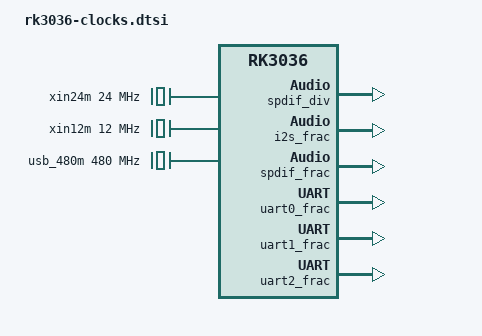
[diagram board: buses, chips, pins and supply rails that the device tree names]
/*
 * Copyright (C) 2014 ROCKCHIP, Inc.
 *
 * This program is free software; you can redistribute it and/or modify
 * it under the terms of the GNU General Public License as published by
 * the Free Software Foundation; either version 2 of the License, or
 * (at your option) any later version.
 *
 * This program is distributed in the hope that it will be useful,
 * but WITHOUT ANY WARRANTY; without even the implied warranty of
 * MERCHANTABILITY or FITNESS FOR A PARTICULAR PURPOSE.  See the
 * GNU General Public License for more details.
 */
#include <dt-bindings/clock/rockchip,rk3036.h>

/{

	clocks {
		compatible = "rockchip,rk-clocks";
		#address-cells = <1>;
		#size-cells = <1>;
		ranges = <0x0  0x20000000  0x1f0>;

		fixed_rate_cons {
			compatible = "rockchip,rk-fixed-rate-cons";

			xin24m: xin24m {
				compatible = "rockchip,rk-fixed-clock";
				clock-output-names = "xin24m";
				clock-frequency = <24000000>;
				#clock-cells = <0>;
			};

			xin12m: xin12m {
				compatible = "rockchip,rk-fixed-clock";
				clocks = <&xin24m>;
				clock-output-names = "xin12m";
				clock-frequency = <12000000>;
				#clock-cells = <0>;
			};

			rmii_clkin: rmii_clkin {
				compatible = "rockchip,rk-fixed-clock";
				clock-output-names = "rmii_clkin";
				clock-frequency = <0>;
				#clock-cells = <0>;
			};

			usb_480m: usb_480m {
				compatible = "rockchip,rk-fixed-clock";
				clock-output-names = "usb_480m";
				clock-frequency = <480000000>;
				#clock-cells = <0>;
			};

			i2s_clkin: i2s_clkin {
				compatible = "rockchip,rk-fixed-clock";
				clock-output-names = "i2s_clkin";
				clock-frequency = <0>;
				#clock-cells = <0>;
			};

			jtag_tck: jtag_tck {
				compatible = "rockchip,rk-fixed-clock";
				clock-output-names = "jtag_tck";
				clock-frequency = <0>;
				#clock-cells = <0>;
			};

			dummy: dummy {
				compatible = "rockchip,rk-fixed-clock";
				clock-output-names = "dummy";
				clock-frequency = <0>;
				#clock-cells = <0>;
			};

			dummy_cpll: dummy_cpll {
				compatible = "rockchip,rk-fixed-clock";
				clock-output-names = "dummy_cpll";
				clock-frequency = <0>;
				#clock-cells = <0>;
			};

		};

		fixed_factor_cons {
			compatible = "rockchip,rk-fixed-factor-cons";
/*
			otgphy0_12m: otgphy0_12m {
				compatible = "rockchip,rk-fixed-factor-clock";
				clocks = <&clk_gates1 5>;
				clock-output-names = "otgphy0_12m";
				clock-div = <1>;
				clock-mult = <20>;
				#clock-cells = <0>;
			};
*/
			hclk_vcodec: hclk_vcodec {
				compatible = "rockchip,rk-fixed-factor-clock";
				clocks = <&aclk_vcodec_pre>;
				clock-output-names = "hclk_vcodec";
				clock-div = <4>;
				clock-mult = <1>;
				#clock-cells = <0>;
			};

		};

		clock_regs {
			compatible = "rockchip,rk-clock-regs";
			#address-cells = <1>;
			#size-cells = <1>;
			reg = <0x0000 0x01f0>;
			ranges;

			/* PLL control regs */
			pll_cons {
				compatible = "rockchip,rk-pll-cons";
				#address-cells = <1>;
				#size-cells = <1>;
				ranges ;

				clk_apll: pll-clk@0000 {
					compatible = "rockchip,rk3188-pll-clk";
					reg = <0x0000 0x10>;
					mode-reg = <0x0040 0>;
					status-reg = <0x0004 10>;
					clocks = <&xin24m>;
					clock-output-names = "clk_apll";
					rockchip,pll-type = <CLK_PLL_3036_APLL>;
					#clock-cells = <0>;
				};

				clk_dpll: pll-clk@0010 {
					compatible = "rockchip,rk3188-pll-clk";
					reg = <0x0010 0x10>;
					mode-reg = <0x0040 4>;
					status-reg = <0x0014 10>;
					clocks = <&xin24m>;
					clock-output-names = "clk_dpll";
					rockchip,pll-type = <CLK_PLL_3036PLUS_AUTO>;
					#clock-cells = <0>;
				};

				clk_gpll: pll-clk@0030 {
					compatible = "rockchip,rk3188-pll-clk";
					reg = <0x0030 0x10>;
					mode-reg = <0x0040 12>;
					status-reg = <0x0034 10>;
					clocks = <&xin24m>;
					clock-output-names = "clk_gpll";
					rockchip,pll-type = <CLK_PLL_3036PLUS_AUTO>;
					#clock-cells = <0>;
					#clock-init-cells = <1>;
				};

			};

			/* Select control regs */
			clk_sel_cons {
				compatible = "rockchip,rk-sel-cons";
				#address-cells = <1>;
				#size-cells = <1>;
				ranges;

				clk_sel_con0: sel-con@0044 {
					compatible = "rockchip,rk3188-selcon";
					reg = <0x0044 0x4>;
					#address-cells = <1>;
					#size-cells = <1>;

					clk_core_div: clk_core_div {
						compatible = "rockchip,rk3188-div-con";
						rockchip,bits = <0 5>;
						clocks = <&clk_core>;
						clock-output-names = "clk_core";
						rockchip,div-type = <CLK_DIVIDER_PLUS_ONE>;
						#clock-cells = <0>;
						rockchip,clkops-idx = <CLKOPS_RATE_CORE>;
						rockchip,flags = <(CLK_GET_RATE_NOCACHE |
									CLK_SET_RATE_NO_REPARENT)>;
					};

					/* reg[6:5]: reserved */

					clk_core: clk_core_mux {
						compatible = "rockchip,rk3188-mux-con";
						rockchip,bits = <7 1>;
						clocks = <&clk_apll>, <&clk_gates0 6>;
						clock-output-names = "clk_core";
						#clock-cells = <0>;
						#clock-init-cells = <1>;
					};

					aclk_cpu_pre_div: aclk_cpu_pre_div {
						compatible = "rockchip,rk3188-div-con";
						rockchip,bits = <8 5>;
						clocks = <&aclk_cpu_pre>;
						clock-output-names = "aclk_cpu_pre";
						rockchip,div-type = <CLK_DIVIDER_PLUS_ONE>;
						#clock-cells = <0>;
						rockchip,clkops-idx =
							<CLKOPS_RATE_MUX_DIV>;
						rockchip,flags = <CLK_SET_RATE_NO_REPARENT>;
					};

					/* reg[13]: reserved */

					aclk_cpu_pre: aclk_cpu_pre_mux {
						compatible = "rockchip,rk3188-mux-con";
						rockchip,bits = <14 2>;
						clocks = <&clk_apll>, <&clk_dpll>,<&clk_gpll>;
						clock-output-names = "aclk_cpu_pre";
						#clock-cells = <0>;
						#clock-init-cells = <1>;
					};

				};

				clk_sel_con1: sel-con@0048 {
					compatible = "rockchip,rk3188-selcon";
					reg = <0x0048 0x4>;
					#address-cells = <1>;
					#size-cells = <1>;

					pclk_dbg_div:  pclk_dbg_div {
						compatible = "rockchip,rk3188-div-con";
						rockchip,bits = <0 4>;
						clocks = <&clk_core>;
						clock-output-names = "pclk_dbg";
						rockchip,div-type = <CLK_DIVIDER_PLUS_ONE>;
						#clock-cells = <0>;
						rockchip,clkops-idx = <CLKOPS_RATE_CORE_CHILD>;
					};

					aclk_core_pre: aclk_core_pre_div {
						compatible = "rockchip,rk3188-div-con";
						rockchip,bits = <4 3>;
						clocks = <&clk_core>;
						clock-output-names = "aclk_core_pre";
						rockchip,div-type = <CLK_DIVIDER_PLUS_ONE>;
						#clock-cells = <0>;
						rockchip,clkops-idx = <CLKOPS_RATE_CORE_CHILD>;
					};

					/* reg[7]: reserved */

					hclk_cpu_pre: hclk_cpu_pre_div {
						compatible = "rockchip,rk3188-div-con";
						rockchip,bits = <8 2>;
						clocks = <&aclk_cpu_pre>;
						clock-output-names = "hclk_cpu_pre";
						rockchip,div-type = <CLK_DIVIDER_PLUS_ONE>;
						#clock-cells = <0>;
						#clock-init-cells = <1>;
					};

					/* reg[11:10]: reserved */

					pclk_cpu_pre: pclk_cpu_pre_div {
						compatible = "rockchip,rk3188-div-con";
						rockchip,bits = <12 3>;
						clocks = <&aclk_cpu_pre>;
						clock-output-names = "pclk_cpu_pre";
						rockchip,div-type = <CLK_DIVIDER_PLUS_ONE>;
						#clock-cells = <0>;
						#clock-init-cells = <1>;
					};

					/* reg[15]: reserved */
				};

				clk_sel_con2: sel-con@004c {
					compatible = "rockchip,rk3188-selcon";
					reg = <0x004c 0x4>;
					#address-cells = <1>;
					#size-cells = <1>;

					/* reg[3:0]: reserved */

					clk_timer0: clk_timer0_mux {
						compatible = "rockchip,rk3188-mux-con";
						rockchip,bits = <4 1>;
						clocks = <&xin24m>, <&aclk_peri_pre>;
						clock-output-names = "clk_timer0";
						#clock-cells = <0>;
						#clock-init-cells = <1>;
					};

					clk_timer1: clk_timer1_mux {
						compatible = "rockchip,rk3188-mux-con";
						rockchip,bits = <5 1>;
						clocks = <&xin24m>, <&aclk_peri_pre>;
						clock-output-names = "clk_timer1";
						#clock-cells = <0>;
						#clock-init-cells = <1>;
					};

					clk_timer2: clk_timer2_mux {
						compatible = "rockchip,rk3188-mux-con";
						rockchip,bits = <6 1>;
						clocks = <&xin24m>, <&aclk_peri_pre>;
						clock-output-names = "clk_timer2";
						#clock-cells = <0>;
						#clock-init-cells = <1>;
					};

					clk_timer3: clk_timer3_mux {
						compatible = "rockchip,rk3188-mux-con";
						rockchip,bits = <7 1>;
						clocks = <&xin24m>, <&aclk_peri_pre>;
						clock-output-names = "clk_timer3";
						#clock-cells = <0>;
						#clock-init-cells = <1>;
					};

					/* reg[15:8]: reserved */
				};

				clk_sel_con3: sel-con@0050 {
					compatible = "rockchip,rk3188-selcon";
					reg = <0x0050 0x4>;
					#address-cells = <1>;
					#size-cells = <1>;

					clk_i2s_pll_div: clk_i2s_pll_div {
						compatible = "rockchip,rk3188-div-con";
						rockchip,bits = <0 7>;
						clocks = <&clk_i2s_pll>;
						clock-output-names = "clk_i2s_pll";
						rockchip,div-type = <CLK_DIVIDER_PLUS_ONE>;
						#clock-cells = <0>;
						rockchip,clkops-idx =
							<CLKOPS_RATE_MUX_DIV>;
						rockchip,flags = <CLK_SET_RATE_NO_REPARENT>;
					};

					/* reg[7]: reserved */

					clk_i2s: clk_i2s_mux {
						compatible = "rockchip,rk3188-mux-con";
						rockchip,bits = <8 2>;
						clocks = <&clk_i2s_pll_div>, <&i2s_frac>, <&i2s_clkin>, <&xin12m>;
						clock-output-names = "clk_i2s";
						#clock-cells = <0>;
						rockchip,clkops-idx =
							<CLKOPS_RATE_RK3288_I2S>;
						rockchip,flags = <CLK_SET_RATE_PARENT>;
					};

					/* reg[11:10]: reserved */

					clk_i2s_out: i2s_outclk_mux {
						compatible = "rockchip,rk3188-mux-con";
						rockchip,bits = <12 1>;
						clocks = <&xin12m>, <&clk_i2s>;
						clock-output-names = "i2s_clkout";
						#clock-cells = <0>;
					};

					/* reg[13]: reserved */

					clk_i2s_pll: i2s_pll_mux {
						compatible = "rockchip,rk3188-mux-con";
						rockchip,bits = <14 2>;
						clocks = <&clk_apll>,<&clk_dpll>, <&clk_gpll>;
						clock-output-names = "clk_i2s_pll";
						#clock-cells = <0>;
						#clock-init-cells = <1>;
					};

				};

				clk_sel_con5: sel-con@0058 {
					compatible = "rockchip,rk3188-selcon";
					reg = <0x0058 0x4>;
					#address-cells = <1>;
					#size-cells = <1>;

					spdif_div: spdif_div {
						compatible = "rockchip,rk3188-div-con";
						rockchip,bits = <0 7>;
						clocks = <&clk_spdif_pll>;
						clock-output-names = "clk_spdif_pll";
						rockchip,div-type = <CLK_DIVIDER_PLUS_ONE>;
						#clock-cells = <0>;
						rockchip,clkops-idx =
							<CLKOPS_RATE_MUX_DIV>;
						rockchip,flags = <CLK_SET_RATE_NO_REPARENT>;
					};

					/* reg[7]: reserved */

					clk_spdif: spdif_mux {
						compatible = "rockchip,rk3188-mux-con";
						rockchip,bits = <8 2>;
						clocks = <&spdif_div>, <&spdif_frac>, <&xin12m>;
						clock-output-names = "clk_spdif";
						#clock-cells = <0>;
						rockchip,clkops-idx =
							<CLKOPS_RATE_RK3288_I2S>;
						rockchip,flags = <CLK_SET_RATE_PARENT>;
					};

					clk_spdif_pll: spdif_pll_mux {
						compatible = "rockchip,rk3188-mux-con";
						rockchip,bits = <10 2>;
						clocks = <&clk_apll>,<&clk_dpll>, <&clk_gpll>;
						clock-output-names = "clk_spdif_pll";
						#clock-cells = <0>;
						#clock-init-cells = <1>;
					};

					/* reg[15:12]: reserved */
				};

				clk_sel_con7: sel-con@0060 {
					compatible = "rockchip,rk3188-selcon";
					reg = <0x0060 0x4>;
					#address-cells = <1>;
					#size-cells = <1>;

					i2s_frac: i2s_frac {
						compatible = "rockchip,rk3188-frac-con";
						clocks = <&clk_i2s_pll>;
						clock-output-names = "i2s_frac";
						/* numerator	denominator */
						rockchip,bits = <0 32>;
						rockchip,clkops-idx =
							<CLKOPS_RATE_FRAC>;
						#clock-cells = <0>;
					};
				};

				clk_sel_con9: sel-con@0068 {
					compatible = "rockchip,rk3188-selcon";
					reg = <0x0068 0x4>;
					#address-cells = <1>;
					#size-cells = <1>;

					spdif_frac: spdif_frac {
						compatible = "rockchip,rk3188-frac-con";
						clocks = <&spdif_div>;
						clock-output-names = "spdif_frac";
						/* numerator	denominator */
						rockchip,bits = <0 32>;
						rockchip,clkops-idx =
							<CLKOPS_RATE_FRAC>;
						#clock-cells = <0>;
					};
				};

				clk_sel_con10: sel-con@006c {
					compatible = "rockchip,rk3188-selcon";
					reg = <0x006c 0x4>;
					#address-cells = <1>;
					#size-cells = <1>;

					aclk_peri_pre_div: aclk_peri_pre_div {
						compatible = "rockchip,rk3188-div-con";
						rockchip,bits = <0 5>;
						clocks = <&aclk_peri_pre>;
						clock-output-names = "aclk_peri_pre";
						rockchip,div-type = <CLK_DIVIDER_PLUS_ONE>;
						#clock-cells = <0>;
						rockchip,clkops-idx =
							<CLKOPS_RATE_MUX_DIV>;
						rockchip,flags = <CLK_SET_RATE_NO_REPARENT>;
					};

					/* reg[7:5]: reserved */

					hclk_peri_pre: hclk_peri_pre_div {
						compatible = "rockchip,rk3188-div-con";
						rockchip,bits = <8 2>;
						clocks = <&aclk_peri_pre>;
						clock-output-names = "hclk_peri_pre";
						rockchip,div-type = <CLK_DIVIDER_USER_DEFINE>;
						rockchip,div-relations =
								<0x0 1
								 0x1 2
								 0x2 4>;
						#clock-cells = <0>;
						#clock-init-cells = <1>;
					};

					/* reg[11:10]: reserved */

					pclk_peri_pre: pclk_peri_div {
						compatible = "rockchip,rk3188-div-con";
						rockchip,bits = <12 2>;
						clocks = <&aclk_peri_pre>;
						clock-output-names = "pclk_peri_pre";
						rockchip,div-type = <CLK_DIVIDER_USER_DEFINE>;
						rockchip,div-relations =
								<0x0 1
								 0x1 2
								 0x2 4
								 0x3 8>;
						#clock-cells = <0>;
						#clock-init-cells = <1>;
					};

					aclk_peri_pre: aclk_peri_pre_mux {
						compatible = "rockchip,rk3188-mux-con";
						rockchip,bits = <14 2>;
						clocks = <&clk_apll>,<&clk_dpll>, <&clk_gpll>;
						clock-output-names = "aclk_peri_pre";
						#clock-cells = <0>;
						#clock-init-cells = <1>;
					};
				};

				clk_sel_con11: sel-con@0070 {
					compatible = "rockchip,rk3188-selcon";
					reg = <0x0070 0x4>;
					#address-cells = <1>;
					#size-cells = <1>;

					clk_sdmmc0_div: clk_sdmmc0_div {
						compatible = "rockchip,rk3188-div-con";
						rockchip,bits = <0 6>;
						clocks = <&clk_sdmmc0>;
						clock-output-names = "clk_sdmmc0";
						rockchip,div-type = <CLK_DIVIDER_PLUS_ONE>;
						#clock-cells = <0>;
						rockchip,clkops-idx =
							<CLKOPS_RATE_MUX_EVENDIV>;
					};

					/* reg[7]: reserved */

					clk_sdio_div: clk_sdio_div {
						compatible = "rockchip,rk3188-div-con";
						rockchip,bits = <8 7>;
						clocks = <&clk_sdio>;
						clock-output-names = "clk_sdio";
						rockchip,div-type = <CLK_DIVIDER_PLUS_ONE>;
						#clock-cells = <0>;
						rockchip,clkops-idx =
							<CLKOPS_RATE_MUX_EVENDIV>;
					};

					/* reg[15]: reserved */

				};

				clk_sel_con12: sel-con@0074 {
					compatible = "rockchip,rk3188-selcon";
					reg = <0x0074 0x4>;
					#address-cells = <1>;
					#size-cells = <1>;

					clk_emmc_div: clk_emmc_div {
						compatible = "rockchip,rk3188-div-con";
						rockchip,bits = <0 7>;
						clocks = <&clk_emmc>;
						clock-output-names = "clk_emmc";
						rockchip,div-type = <CLK_DIVIDER_PLUS_ONE>;
						#clock-cells = <0>;
						rockchip,clkops-idx =
							<CLKOPS_RATE_MUX_EVENDIV>;
					};

					/* reg[7]: reserved */

					clk_sdmmc0: clk_sdmmc0_mux {
						compatible = "rockchip,rk3188-mux-con";
						rockchip,bits = <8 2>;
						clocks = <&clk_apll>,<&clk_dpll>, <&clk_gpll>, <&xin24m>;
						clock-output-names = "clk_sdmmc0";
						#clock-cells = <0>;
					};

					clk_sdio: clk_sdio_mux {
						compatible = "rockchip,rk3188-mux-con";
						rockchip,bits = <10 2>;
						clocks = <&clk_apll>,<&clk_dpll>, <&clk_gpll>, <&xin24m>;
						clock-output-names = "clk_sdio";
						#clock-cells = <0>;
					};

					clk_emmc: clk_emmc_mux {
						compatible = "rockchip,rk3188-mux-con";
						rockchip,bits = <12 2>;
						clocks = <&clk_apll>,<&clk_dpll>, <&clk_gpll>, <&xin24m>;
						clock-output-names = "clk_emmc";
						#clock-cells = <0>;
					};

					/* reg[15:14]: reserved */
				};

				clk_sel_con13: sel-con@0078 {
					compatible = "rockchip,rk3188-selcon";
					reg = <0x0078 0x4>;
					#address-cells = <1>;
					#size-cells = <1>;

					clk_uart0_div: clk_uart0_div {
						compatible = "rockchip,rk3188-div-con";
						rockchip,bits = <0 7>;
						clocks = <&clk_uart_pll>;
						clock-output-names = "clk_uart0_div";
						rockchip,div-type = <CLK_DIVIDER_PLUS_ONE>;
						#clock-cells = <0>;
					};

					/* reg[7]: reserved */

					clk_uart0: clk_uart0_mux {
						compatible = "rockchip,rk3188-mux-con";
						rockchip,bits = <8 2>;
						clocks = <&clk_uart0_div>, <&uart0_frac>, <&xin24m>;
						clock-output-names = "clk_uart0";
						#clock-cells = <0>;
						rockchip,clkops-idx =
							<CLKOPS_RATE_RK3288_I2S>;
						rockchip,flags = <CLK_SET_RATE_PARENT>;
					};

					clk_uart_pll: clk_uart_pll_mux {
						compatible = "rockchip,rk3188-mux-con";
						rockchip,bits = <10 2>;
						clocks = <&clk_apll>,<&clk_dpll>, <&clk_gpll>, <&usb_480m>;
						clock-output-names = "clk_uart_pll";
						#clock-cells = <0>;
						#clock-init-cells = <1>;
					};

					/* reg[15:12]: reserved */

				};

				clk_sel_con14: sel-con@007c {
					compatible = "rockchip,rk3188-selcon";
					reg = <0x007c 0x4>;
					#address-cells = <1>;
					#size-cells = <1>;

					clk_uart1_div: clk_uart1_div {
						compatible = "rockchip,rk3188-div-con";
						rockchip,bits = <0 7>;
						clocks = <&clk_uart_pll>;
						clock-output-names = "clk_uart1_div";
						rockchip,div-type = <CLK_DIVIDER_PLUS_ONE>;
						#clock-cells = <0>;
					};

					/* reg[7]: reserved */

					clk_uart1: clk_uart1_mux {
						compatible = "rockchip,rk3188-mux-con";
						rockchip,bits = <8 2>;
						clocks = <&clk_uart1_div>, <&uart1_frac>, <&xin24m>;
						clock-output-names = "clk_uart1";
						#clock-cells = <0>;
						rockchip,clkops-idx =
							<CLKOPS_RATE_RK3288_I2S>;
						rockchip,flags = <CLK_SET_RATE_PARENT>;
					};

					/* reg[15:10]: reserved */
				};

				clk_sel_con15: sel-con@0080 {
					compatible = "rockchip,rk3188-selcon";
					reg = <0x0080 0x4>;
					#address-cells = <1>;
					#size-cells = <1>;

					clk_uart2_div: clk_uart2_div {
						compatible = "rockchip,rk3188-div-con";
						rockchip,bits = <0 7>;
						clocks = <&clk_uart_pll>;
						clock-output-names = "clk_uart2_div";
						rockchip,div-type = <CLK_DIVIDER_PLUS_ONE>;
						#clock-cells = <0>;
					};

					/* reg[7]: reserved */

					clk_uart2: clk_uart2_mux {
						compatible = "rockchip,rk3188-mux-con";
						rockchip,bits = <8 2>;
						clocks = <&clk_uart2_div>, <&uart2_frac>, <&xin24m>;
						clock-output-names = "clk_uart2";
						#clock-cells = <0>;
						rockchip,clkops-idx =
							<CLKOPS_RATE_RK3288_I2S>;
						rockchip,flags = <CLK_SET_RATE_PARENT>;
					};

					/* reg[15:10]: reserved */
				};

				clk_sel_con16: sel-con@0084 {
					compatible = "rockchip,rk3188-selcon";
					reg = <0x0084 0x4>;
					#address-cells = <1>;
					#size-cells = <1>;

					clk_sfc: clk_sfc_mux {
						compatible = "rockchip,rk3188-mux-con";
						rockchip,bits = <0 2>;
						clocks = <&clk_apll>, <&clk_dpll>, <&clk_gpll>, <&xin24m>;
						clock-output-names = "clk_sfc";
						#clock-cells = <0>;
					};

					clk_sfc_div: clk_sfc_div {
						compatible = "rockchip,rk3188-div-con";
						rockchip,bits = <2 5>;
						clocks = <&clk_sfc>;
						clock-output-names = "clk_sfc";
						rockchip,div-type = <CLK_DIVIDER_PLUS_ONE>;
						#clock-cells = <0>;
						rockchip,clkops-idx =
							<CLKOPS_RATE_MUX_DIV>;
					};

					/* reg[7]: reserved */

					clk_nandc: clk_nandc_mux {
						compatible = "rockchip,rk3188-mux-con";
						rockchip,bits = <8 2>;
						clocks = <&clk_apll>, <&clk_dpll>, <&clk_gpll>;
						clock-output-names = "clk_nandc";
						#clock-cells = <0>;
					};

					clk_nandc_div: clk_nandc_div {
						compatible = "rockchip,rk3188-div-con";
						rockchip,bits = <10 5>;
						clocks = <&clk_nandc>;
						clock-output-names = "clk_nandc";
						rockchip,div-type = <CLK_DIVIDER_PLUS_ONE>;
						#clock-cells = <0>;
						rockchip,clkops-idx =
							<CLKOPS_RATE_MUX_DIV>;
					};

					/* reg[31:15]: reserved */
				};

				clk_sel_con17: sel-con@0088 {
					compatible = "rockchip,rk3188-selcon";
					reg = <0x0088 0x4>;
					#address-cells = <1>;
					#size-cells = <1>;

					uart0_frac: uart0_frac {
						compatible = "rockchip,rk3188-frac-con";
						clocks = <&clk_uart0_div>;
						clock-output-names = "uart0_frac";
						/* numerator	denominator */
						rockchip,bits = <0 32>;
						rockchip,clkops-idx =
							<CLKOPS_RATE_FRAC>;
						#clock-cells = <0>;
					};
				};

				clk_sel_con18: sel-con@008c {
					compatible = "rockchip,rk3188-selcon";
					reg = <0x008c 0x4>;
					#address-cells = <1>;
					#size-cells = <1>;

					uart1_frac: uart1_frac {
						compatible = "rockchip,rk3188-frac-con";
						clocks = <&clk_uart1_div>;
						clock-output-names = "uart1_frac";
						/* numerator	denominator */
						rockchip,bits = <0 32>;
						rockchip,clkops-idx =
							<CLKOPS_RATE_FRAC>;
						#clock-cells = <0>;
					};
				};

				clk_sel_con19: sel-con@0090 {
					compatible = "rockchip,rk3188-selcon";
					reg = <0x0090 0x4>;
					#address-cells = <1>;
					#size-cells = <1>;

					uart2_frac: uart2_frac {
						compatible = "rockchip,rk3188-frac-con";
						clocks = <&clk_uart2_div>;
						clock-output-names = "uart2_frac";
						/* numerator	denominator */
						rockchip,bits = <0 32>;
						rockchip,clkops-idx =
							<CLKOPS_RATE_FRAC>;
						#clock-cells = <0>;
					};

				};

				clk_sel_con20: sel-con@0094 {
					compatible = "rockchip,rk3188-selcon";
					reg = <0x0094 0x4>;
					#address-cells = <1>;
					#size-cells = <1>;

					clk_hevc_core: clk_hevc_core_mux {
						compatible = "rockchip,rk3188-mux-con";
						rockchip,bits = <0 2>;
						clocks = <&clk_apll>, <&clk_dpll>, <&clk_gpll>;
						clock-output-names = "clk_hevc_core";
						#clock-cells = <0>;
						#clock-init-cells = <1>;
					};

					clk_hevc_core_div: clk_hevc_core_div {
						compatible = "rockchip,rk3188-div-con";
						rockchip,bits = <2 5>;
						clocks = <&clk_hevc_core>;
						clock-output-names = "clk_hevc_core";
						rockchip,div-type = <CLK_DIVIDER_PLUS_ONE>;
						#clock-cells = <0>;
						rockchip,clkops-idx =
							<CLKOPS_RATE_MUX_DIV>;
						rockchip,flags = <CLK_SET_RATE_NO_REPARENT>;
					};

					/* reg[31:7]: reserved */

				};

				clk_sel_con21: sel-con@0098 {
					compatible = "rockchip,rk3188-selcon";
					reg = <0x0098 0x4>;
					#address-cells = <1>;
					#size-cells = <1>;

					clk_mac_pll: clk_mac_pll_mux {
						compatible = "rockchip,rk3188-mux-con";
						rockchip,bits = <0 2>;
						clocks = <&clk_apll>, <&clk_dpll>, <&clk_gpll>;
						clock-output-names = "clk_mac_pll";
						#clock-cells = <0>;
						#clock-init-cells = <1>;
					};

					/* reg[2]: reserved */

					clk_mac_ref: clk_mac_ref_mux {
						compatible = "rockchip,rk3188-mux-con";
						rockchip,bits = <3 1>;
						clocks = <&clk_mac_pll_div>, <&rmii_clkin>;
						clock-output-names = "clk_mac_ref";
						#clock-cells = <0>;
						rockchip,clkops-idx =
							<CLKOPS_RATE_MAC_REF>;
						rockchip,flags = <CLK_SET_RATE_PARENT>;
						#clock-init-cells = <1>;
					};

					clk_mac_pll_div: clk_mac_pll_div {
						compatible = "rockchip,rk3188-div-con";
						rockchip,bits = <4 5>;
						clocks = <&clk_mac_pll>;
						clock-output-names = "clk_mac_pll";
						rockchip,div-type = <CLK_DIVIDER_PLUS_ONE>;
						#clock-cells = <0>;
						rockchip,clkops-idx =
							<CLKOPS_RATE_MUX_DIV>;
					};

					clk_mac_ref_div: clk_mac_ref_div {
						compatible = "rockchip,rk3188-div-con";
						rockchip,bits = <9 5>;
						clocks = <&clk_mac_ref>;
						clock-output-names = "clk_mac";
						rockchip,div-type = <CLK_DIVIDER_PLUS_ONE>;
						#clock-cells = <0>;
						#clock-init-cells = <1>;
					};

					/* reg[15:14]: reserved */
				};

				clk_sel_con25: sel-con@00a8 {
					compatible = "rockchip,rk3188-selcon";
					reg = <0x00a8 0x4>;
					#address-cells = <1>;
					#size-cells = <1>;

					clk_spi0_div: clk_spi0_div {
						compatible = "rockchip,rk3188-div-con";
						rockchip,bits = <0 7>;
						clocks = <&clk_spi0>;
						clock-output-names = "clk_spi0";
						rockchip,div-type = <CLK_DIVIDER_PLUS_ONE>;
						#clock-cells = <0>;
						rockchip,clkops-idx =
							<CLKOPS_RATE_MUX_DIV>;
					};

					/* reg[7]: reserved */

					clk_spi0: clk_spi0_mux {
						compatible = "rockchip,rk3188-mux-con";
						rockchip,bits = <8 2>;
						clocks = <&clk_apll>, <&clk_dpll>,<&clk_gpll>;
						clock-output-names = "clk_spi0";
						#clock-cells = <0>;
					};

					/* reg[15:10]: reserved */

				};

				clk_sel_con26: sel-con@00ac {
					compatible = "rockchip,rk3188-selcon";
					reg = <0x00ac 0x4>;
					#address-cells = <1>;
					#size-cells = <1>;

					ddr_div: ddr_div {
						compatible = "rockchip,rk3188-div-con";
						rockchip,bits = <0 2>;
						clocks = <&clk_ddr>;
						clock-output-names = "clk_ddr";
						rockchip,div-type = <CLK_DIVIDER_USER_DEFINE>;
						rockchip,div-relations =
								<0x0 1
								 0x1 2
								 0x3 4>;
						#clock-cells = <0>;
						rockchip,flags = <(CLK_GET_RATE_NOCACHE |
									CLK_SET_RATE_NO_REPARENT)>;
						rockchip,clkops-idx = <CLKOPS_RATE_DDR>;
					};

					/* reg[7:1]: reserved */

					clk_ddr: ddr_clk_pll_mux {
						compatible = "rockchip,rk3188-mux-con";
						rockchip,bits = <8 1>;
						clocks = <&clk_dpll>, <&dummy>;
						clock-output-names = "clk_ddr";
						#clock-cells = <0>;
					};

					/* reg[15:9]: reserved */
				};

				clk_sel_con28: sel-con@00b4 {
					compatible = "rockchip,rk3188-selcon";
					reg = <0x00b4 0x4>;
					#address-cells = <1>;
					#size-cells = <1>;

					dclk_lcdc1: dclk_lcdc1_mux {
						compatible = "rockchip,rk3188-mux-con";
						rockchip,bits = <0 2>;
						clocks = <&clk_apll>, <&clk_dpll>, <&clk_gpll>;
						clock-output-names = "dclk_lcdc1";
						#clock-cells = <0>;
						#clock-init-cells = <1>;
					};

					/* reg[7:2]: reserved */

					dclk_lcdc1_div: dclk_lcdc1_div {
						compatible = "rockchip,rk3188-div-con";
						rockchip,bits = <8 8>;
						clocks = <&dclk_lcdc1>;
						clock-output-names = "dclk_lcdc1";
						rockchip,div-type = <CLK_DIVIDER_PLUS_ONE>;
						#clock-cells = <0>;
						rockchip,clkops-idx =
							<CLKOPS_RATE_MUX_DIV>;
						rockchip,flags = <CLK_SET_RATE_NO_REPARENT>;
					};
				};

				clk_sel_con30: sel-con@00bc {
					compatible = "rockchip,rk3188-selcon";
					reg = <0x00bc 0x4>;
					#address-cells = <1>;
					#size-cells = <1>;

					clk_testout_div: clk_testout_div {
						compatible = "rockchip,rk3188-div-con";
						rockchip,bits = <0 5>;
						clocks = <&dummy>;
						clock-output-names = "clk_testout";
						rockchip,div-type = <CLK_DIVIDER_PLUS_ONE>;
						#clock-cells = <0>;
						#clock-init-cells = <1>;
					};

					/* reg[7:5]: reserved */

					hclk_vio_pre_div: hclk_vio_pre_div {
						compatible = "rockchip,rk3188-div-con";
						rockchip,bits = <8 5>;
						clocks = <&hclk_vio_pre>;
						clock-output-names = "hclk_vio_pre";
						rockchip,div-type = <CLK_DIVIDER_PLUS_ONE>;
						#clock-cells = <0>;
						rockchip,clkops-idx =
							<CLKOPS_RATE_MUX_DIV>;
						rockchip,flags = <CLK_SET_RATE_NO_REPARENT>;
					};

					/* reg[13]: reserved */

					hclk_vio_pre: hclk_vio_pre_mux {
						compatible = "rockchip,rk3188-mux-con";
						rockchip,bits = <14 2>;
						clocks = <&clk_apll>, <&clk_dpll>, <&clk_gpll>;
						clock-output-names = "hclk_vio_pre";
						#clock-cells = <0>;
						#clock-init-cells = <1>;
					};

				};

				clk_sel_con31: sel-con@00c0 {
					compatible = "rockchip,rk3188-selcon";
					reg = <0x00c0 0x4>;
					#address-cells = <1>;
					#size-cells = <1>;

					clk_hdmi: clk_hdmi_mux {
						compatible = "rockchip,rk3188-mux-con";
						rockchip,bits = <0 1>;
						clocks = <&dclk_lcdc1_div>, <&dummy>;
						clock-output-names = "clk_hdmi";
						#clock-cells = <0>;
					};

					/* reg[7:1]: reserved */

					aclk_vio_pre_div: aclk_vio_pre_div {
						compatible = "rockchip,rk3188-div-con";
						rockchip,bits = <8 5>;
						clocks = <&aclk_vio_pre>;
						clock-output-names = "aclk_vio_pre";
						rockchip,div-type = <CLK_DIVIDER_PLUS_ONE>;
						#clock-cells = <0>;
						rockchip,clkops-idx =
							<CLKOPS_RATE_MUX_DIV>;
						rockchip,flags = <CLK_SET_RATE_NO_REPARENT>;
					};

					/* reg[13]: reserved */

					aclk_vio_pre: aclk_vio_pre_mux {
						compatible = "rockchip,rk3188-mux-con";
						rockchip,bits = <14 2>;
						clocks = <&clk_apll>, <&clk_dpll>, <&clk_gpll>;
						clock-output-names = "aclk_vio_pre";
						#clock-cells = <0>;
						#clock-init-cells = <1>;
					};

				};

				clk_sel_con32: sel-con@00c4 {
					compatible = "rockchip,rk3188-selcon";
					reg = <0x00c4 0x4>;
					#address-cells = <1>;
					#size-cells = <1>;

					/* reg[7:0]: reserved */

					aclk_vcodec_pre_div: aclk_vcodec_pre_div {
						compatible = "rockchip,rk3188-div-con";
						rockchip,bits = <8 5>;
						clocks = <&aclk_vcodec_pre>;
						clock-output-names = "aclk_vcodec_pre";
						rockchip,div-type = <CLK_DIVIDER_PLUS_ONE>;
						#clock-cells = <0>;
						rockchip,clkops-idx =
							<CLKOPS_RATE_MUX_DIV>;
						rockchip,flags = <CLK_SET_RATE_NO_REPARENT>;
					};

					/* reg[13]: reserved */

					aclk_vcodec_pre: aclk_vcodec_pre_mux {
						compatible = "rockchip,rk3188-mux-con";
						rockchip,bits = <14 2>;
						clocks = <&clk_apll>, <&clk_dpll>, <&clk_gpll>;
						clock-output-names = "aclk_vcodec_pre";
						#clock-cells = <0>;
						#clock-init-cells = <1>;
					};
				};

				clk_sel_con34: sel-con@00cc {
					compatible = "rockchip,rk3188-selcon";
					reg = <0x00cc 0x4>;
					#address-cells = <1>;
					#size-cells = <1>;

					clk_gpu_pre_div: clk_gpu_pre_div {
						compatible = "rockchip,rk3188-div-con";
						rockchip,bits = <0 5>;
						clocks = <&clk_gpu_pre>;
						clock-output-names = "clk_gpu_pre";
						rockchip,div-type = <CLK_DIVIDER_PLUS_ONE>;
						#clock-cells = <0>;
						rockchip,clkops-idx =
							<CLKOPS_RATE_MUX_DIV>;
						rockchip,flags = <CLK_SET_RATE_PARENT_IN_ORDER>;
					};

					/* reg[7:5]: reserved */

					clk_gpu_pre: clk_gpu_pre_mux {
						compatible = "rockchip,rk3188-mux-con";
						rockchip,bits = <8 2>;
						clocks = <&dummy>, <&dummy>, <&clk_gpll>;
						clock-output-names = "clk_gpu_pre";
						#clock-cells = <0>;
						#clock-init-cells = <1>;
					};

					/* reg[15:10]: reserved */

				};

			};


			/* Gate control regs */
			clk_gate_cons {
				compatible = "rockchip,rk-gate-cons";
				#address-cells = <1>;
				#size-cells = <1>;
				ranges ;

				clk_gates0: gate-clk@00d0{
					compatible = "rockchip,rk3188-gate-clk";
					reg = <0x00d0 0x4>;
					clocks =
						<&clk_core>,		<&clk_gpll>,
						<&clk_dpll>,	<&aclk_cpu_pre>,

						<&aclk_cpu_pre>,	<&aclk_cpu_pre>,
						<&clk_gpll>,		<&clk_core>,

						<&clk_gpll>,	<&clk_i2s_pll>,
						<&i2s_frac>,	<&hclk_vio_pre>,

						<&dummy>,		<&clk_i2s_out>,
						<&clk_i2s>,		<&dummy>;

					clock-output-names =
						"pclk_dbg",			"reserved",	 /* do not use bit1 = "cpu_gpll" */
						"reserved",		"aclk_cpu_pre",

						"hclk_cpu_pre",		"pclk_cpu_pre",
						"reserved",		"aclk_core_pre",

						"reserved",		"clk_i2s_pll",
						"i2s_frac",		"hclk_vio_pre",

						"clk_cryto",		"clk_i2s_out",
						"clk_i2s",		"clk_testout";
					rockchip,suspend-clkgating-setting=<0x0 0x0>;

					#clock-cells = <1>;
				};

				clk_gates1: gate-clk@00d4{
					compatible = "rockchip,rk3188-gate-clk";
					reg = <0x00d4 0x4>;
					clocks =
						<&clk_timer0>,		<&clk_timer1>,
						<&dummy>,		<&jtag_tck>,

						<&aclk_vio_pre>,		<&xin12m>,
						<&dummy>,		<&dummy>,

						<&clk_uart0_div>,		<&uart0_frac>,
						<&clk_uart1_div>,		<&uart1_frac>,

						<&clk_uart2_div>,		<&uart2_frac>,
						<&dummy>,		<&dummy>;

					clock-output-names =
						"clk_timer0",		"clk_timer1",
						"reserved",		"clk_jatg",

						"aclk_vio_pre",		"clk_otgphy0",
						"clk_otgphy1",			"reserved",

						"clk_uart0_div",	"uart0_frac",
						"clk_uart1_div",	"uart1_frac",

						"clk_uart2_div",	"uart2_frac",
						"reserved",	"reserved";

					 rockchip,suspend-clkgating-setting=<0x0 0x0>;
					#clock-cells = <1>;
				};

				clk_gates2: gate-clk@00d8 {
					compatible = "rockchip,rk3188-gate-clk";
					reg = <0x00d8 0x4>;
					clocks =
						<&aclk_peri_pre>,		<&aclk_peri_pre>,
						<&aclk_peri_pre>,		<&aclk_peri_pre>,

						<&clk_timer2>,		<&clk_timer3>,
						<&clk_mac_ref>,		<&dummy>,

						<&dummy>,		<&clk_spi0>,
						<&clk_spdif_pll>,		<&clk_sdmmc0>,

						<&spdif_frac>,		<&clk_sdio>,
						<&clk_emmc>,		<&dummy>;

					clock-output-names =
						"aclk_peri",		"aclk_peri_pre",
						"hclk_peri_pre",		"pclk_peri_pre",

						"clk_timer2",		"clk_timer3",
						"clk_mac",		"reserved",

						"reserved",		"clk_spi0",
						"clk_spdif_pll",		"clk_sdmmc0",

						"spdif_frac",		"clk_sdio",
						"clk_emmc",		"reserved";
					    rockchip,suspend-clkgating-setting=<0x0 0x0>;

					#clock-cells = <1>;
				};

				clk_gates3: gate-clk@00dc {
					compatible = "rockchip,rk3188-gate-clk";
					reg = <0x00dc 0x4>;
					clocks =
						<&dummy>,		<&dummy>,
						<&dclk_lcdc1>,		<&dummy>,

						<&dummy>,			<&dummy>,
						<&dummy>,		<&dummy>,

						<&pclk_cpu_pre>,		<&dummy>,
						<&dummy>,		<&aclk_vcodec_pre>,

						<&aclk_vcodec_pre>,		<&clk_gpu_pre>,
						<&hclk_peri_pre>,		<&dummy>;

					clock-output-names =
						"reserved",		"reserved",
						"dclk_lcdc1",		"reserved",

						"reserved",		"reserved",
						"reserved",		"reserved",

						"g_pclk_hdmi",		"reserved",
						"reserved",		"aclk_vcodec_pre",

						"hclk_vcodec",		"clk_gpu_pre",
						"g_hclk_sfc",		"reserved";
                                       rockchip,suspend-clkgating-setting=<0x0000 0x0000>;

					#clock-cells = <1>;
				};

				clk_gates4: gate-clk@00e0{
					compatible = "rockchip,rk3188-gate-clk";
					reg = <0x00e0 0x4>;
					clocks =
						<&hclk_peri_pre>,		<&pclk_peri_pre>,
						<&aclk_peri_pre>,		<&aclk_peri_pre>,

						<&dummy>,		<&dummy>,
						<&dummy>,		<&dummy>,

						<&dummy>,		<&dummy>,
						<&aclk_cpu_pre>,		<&dummy>,

						<&aclk_cpu_pre>,		<&dummy>,
						<&dummy>,		<&dummy>;

					clock-output-names =
						"g_hp_axi_matrix",		"g_pp_axi_matrix",
						"g_aclk_cpu_peri",		"g_ap_axi_matrix",

						"reserved",		"reserved",
						"reserved",		"reserved",

						"reserved",		"reserved",
						"g_aclk_strc_sys",		"reserved",

						/* Not use these ddr gates */
						"g_aclk_intmem",		"reserved",
						"reserved",		"reserved";

					rockchip,suspend-clkgating-setting = <0x0000 0x0000>;
					#clock-cells = <1>;
				};

				clk_gates5: gate-clk@00e4 {
					compatible = "rockchip,rk3188-gate-clk";
					reg = <0x00e4 0x4>;
					clocks =
						<&dummy>,		<&aclk_peri_pre>,
						<&pclk_peri_pre>,		<&dummy>,

						<&pclk_cpu_pre>,		<&dummy>,
						<&hclk_cpu_pre>,		<&pclk_cpu_pre>,

						<&dummy>,		<&hclk_peri_pre>,
						<&hclk_peri_pre>,		<&hclk_peri_pre>,

						<&dummy>,		<&hclk_peri_pre>,
						<&pclk_cpu_pre>,		<&dummy>;

					clock-output-names =
						"reserved",		"g_aclk_dmac2",
						"g_pclk_efuse",	"reserved",

						"g_pclk_grf",		"reserved",
						"g_hclk_rom",		"g_pclk_ddrupctl",

						"reserved",		"g_hclk_nandc",
						"g_hclk_sdmmc0",		"g_hclk_sdio",

						"reserved",		"g_hclk_otg0",
						"g_pclk_acodec",		"reserved";

					rockchip,suspend-clkgating-setting = <0x0000 0x0000>;

					#clock-cells = <1>;
				};

				clk_gates6: gate-clk@00e8 {
					compatible = "rockchip,rk3188-gate-clk";
					reg = <0x00e8 0x4>;
					clocks =
						<&dummy>,		<&dummy>,
						<&dummy>,		<&dummy>,

						<&dummy>,		<&dummy>,
						<&dummy>,		<&dummy>,

						<&dummy>,		<&dummy>,
						<&dummy>,			<&dummy>,

						<&hclk_vio_pre>,		<&aclk_vio_pre>,
						<&dummy>,		<&dummy>;

					clock-output-names =
						"reserved",		"reserved",
						"reserved",		"reserved",

						"reserved",		"reserved",
						"reserved",		"reserved",

						"reserved",		"reserved",
						"reserved",		"reserved",

						"g_hclk_vio_bus",		"g_aclk_vio",
						"reserved",		"reserved";

					rockchip,suspend-clkgating-setting = <0x0000 0x0000>;

					#clock-cells = <1>;
				};

				clk_gates7: gate-clk@00ec {
					compatible = "rockchip,rk3188-gate-clk";
					reg = <0x00ec 0x4>;
					clocks =
						<&hclk_peri_pre>,		<&dummy>,
						<&hclk_peri_pre>,		<&hclk_peri_pre>,

						<&dummy>,		<&dummy>,
						<&dummy>,		<&pclk_peri_pre>,

						<&dummy>,		<&dummy>,
						<&pclk_peri_pre>,		<&dummy>,

						<&pclk_peri_pre>,		<&dummy>,
						<&dummy>,		<&pclk_peri_pre>;

					clock-output-names =
						"g_hclk_emmc",		"reserved",
						"g_hclk_i2s",		"g_hclk_otg1",

						"reserved",		"reserved",
						"reserved",		"g_pclk_timer0",

						"reserved",		"reserved",
						"g_pclk_pwm",		"reserved",

						"g_pclk_spi",		"reserved",
						"reserved",		"g_pclk_wdt";

					rockchip,suspend-clkgating-setting = <0x0000 0x0000>;

					#clock-cells = <1>;
				};

				clk_gates8: gate-clk@00f0 {
					compatible = "rockchip,rk3188-gate-clk";
					reg = <0x00f0 0x4>;
					clocks =
						<&pclk_peri_pre>,		<&pclk_peri_pre>,
						<&pclk_peri_pre>,		<&dummy>,

						<&pclk_peri_pre>,		<&pclk_peri_pre>,
						<&pclk_peri_pre>,		<&dummy>,

						<&dummy>,		<&pclk_peri_pre>,
						<&pclk_peri_pre>,		<&pclk_peri_pre>,

						<&dummy>,		<&dummy>,
						<&dummy>,		<&dummy>;

					clock-output-names =
						"g_pclk_uart0",		"g_pclk_uart1",
						"g_pclk_uart2",		"reserved",

						"g_pclk_i2c0",		"g_pclk_i2c1",
						"g_pclk_i2c2",		"reserved",

						"reserved",		"g_pclk_gpio0",
						"g_pclk_gpio1",		"g_pclk_gpio2",

						"reserved",		"reserved",
						"reserved",		"reserved";

                                        rockchip,suspend-clkgating-setting=<0x0000 0x0000>;
					#clock-cells = <1>;
				};

				clk_gates9: gate-clk@00f4 {
					compatible = "rockchip,rk3188-gate-clk";
					reg = <0x00f4 0x4>;
					clocks =
						<&dummy>,		<&dummy>,
						<&dummy>,		<&dummy>,

						<&dummy>,		<&hclk_vio_pre>,
						<&aclk_vio_pre>,		<&dummy>,

						<&dummy>,		<&dummy>,
						<&dummy>,		<&dummy>,

						<&dummy>,		<&hclk_peri_pre>,
						<&hclk_peri_pre>,		<&aclk_peri_pre>;

					clock-output-names =
						"reserved",		"reserved",
						"reserved",		"reserved",

						"reserved",		"g_hclk_lcdc",
						"g_aclk_lcdc",		"reserved",

						"reserved",		"reserved",
						"reserved",		"reserved",

						"reserved",		"g_hclk_usb_peri",
						"g_hclk_pe_arbi",		"g_aclk_peri_niu";

					rockchip,suspend-clkgating-setting=<0x0 0x0>;

					#clock-cells = <1>;
				};

				clk_gates10: gate-clk@00f8 {
					compatible = "rockchip,rk3188-gate-clk";
					reg = <0x00f8 0x4>;
					clocks =
						<&xin24m>,		<&xin24m>,
						<&xin24m>,		<&dummy>,

						<&clk_nandc>,		<&clk_sfc>,
						<&clk_hevc_core>,		<&dummy>,

						<&clk_dpll>,		<&dummy>,
						<&dummy>,		<&dummy>,

						<&dummy>,		<&dummy>,
						<&dummy>,		<&dummy>;

					clock-output-names =
						"g_clk_pvtm_core",		"g_clk_pvtm_gpu",
						"g_pvtm_video",		"reserved",

						"clk_nandc",		"clk_sfc",
						"clk_hevc_core",		"reserved",

						"reserved",		"reserved",
						"reserved",		"reserved",

						"reserved",		"reserved",
						"reserved",		"reserved";

					rockchip,suspend-clkgating-setting = <0x0 0x0>;	/* pwm logic vol */

					#clock-cells = <1>;
				};

			};
		};
	};
};
